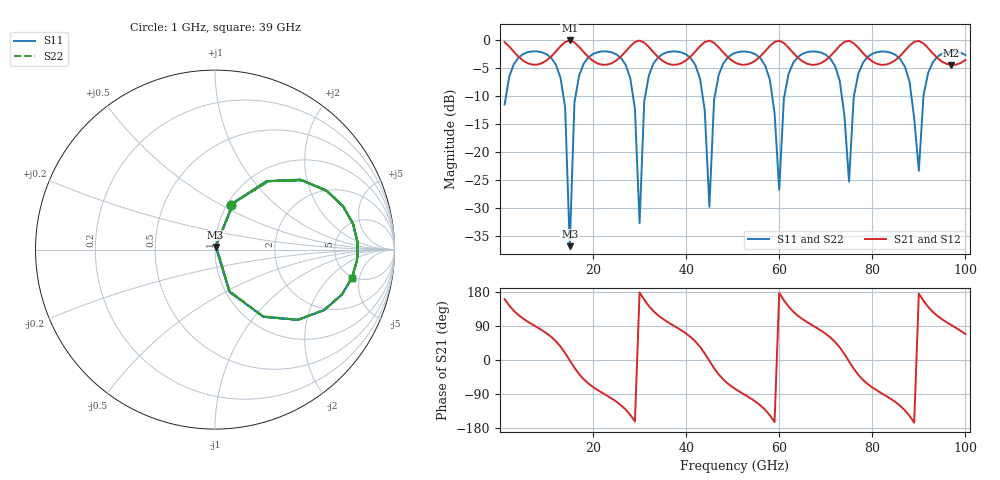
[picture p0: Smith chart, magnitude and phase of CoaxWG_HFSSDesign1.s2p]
! Touchstone file exported from HFSS 2020.2.0
!  File:  /home/erdoel/scratch/Other/CoaxWG.aedt
!  Generated:  10:26:58 AM  Oct 13, 2021
!  Design:  HFSSDesign1
!  Project:  CoaxWG
!  Setup:  Setup1
!  Solution:  Sweep
! Variables:
!  th = 0.05mm
!  w = 0.2mm
# GHZ S MA R 50.000000
! Terminal data exported
! Port[1] = 1
! Port[2] = 2
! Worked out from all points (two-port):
!   100 points, 1 GHz to 100 GHz, reference 50 ohm
!   highest |S21| = -0.04 dB at 15 GHz (marker M1); lowest = -4.4 dB at 97 GHz (marker M2)
!   |S21| within 3 dB of the highest: 10.82 GHz to 19.05 GHz (8.228 GHz wide, 55.1 % of centre); 25.8 GHz to 34 GHz (8.198 GHz wide, 27.4 % of centre)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
!   lowest |S11| = -36.8 dB at 15 GHz (marker M3), VSWR 1.03, Z = 50.3 + j1.41 ohm
!   |S11| at or under -10 dB: 13.63 GHz to 16.24 GHz (2.613 GHz wide, 17.5 % of centre); 28.59 GHz to 31.2 GHz (2.614 GHz wide, 8.75 % of centre); 43.55 GHz to 46.16 GHz (2.615 GHz wide, 5.83 % of centre)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
!   |S22| runs from -36.6 to -2.0 dB; largest |S21 - S12| = 2e-15
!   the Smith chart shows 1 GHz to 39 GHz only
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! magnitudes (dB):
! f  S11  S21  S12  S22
! 1 GHz  -11.5  -0.3  -0.3  -11.5
! 12 GHz  -4.3  -2.0  -2.0  -4.3
! 15 GHz  -36.8  0.0  0.0  -36.6
! 16 GHz  -11.2  -0.4  -0.4  -11.2
! 18 GHz  -4.2  -2.1  -2.1  -4.2
! 27 GHz  -4.4  -2.0  -2.0  -4.4
! 30 GHz  -32.7  -0.1  -0.1  -32.5
! 31 GHz  -10.9  -0.4  -0.4  -10.9
! 34 GHz  -3.0  -3.0  -3.0  -3.0
! 42 GHz  -4.5  -2.0  -2.0  -4.5
! 45 GHz  -29.8  -0.1  -0.1  -29.9
! 46 GHz  -10.7  -0.5  -0.5  -10.7
! 51 GHz  -2.1  -4.2  -4.2  -2.1
! 58 GHz  -7.1  -1.0  -1.0  -7.1
! 60 GHz  -26.7  -0.1  -0.1  -26.9
! 67 GHz  -2.0  -4.4  -4.4  -2.0
! 75 GHz  -25.3  -0.1  -0.1  -25.1
! 77 GHz  -6.0  -1.4  -1.4  -6.0
! 84 GHz  -2.2  -4.1  -4.1  -2.2
! 90 GHz  -23.3  -0.1  -0.1  -23.3
! 97 GHz  -2.0  -4.4  -4.4  -2.0
! 100 GHz  -2.6  -3.5  -3.5  -2.6
